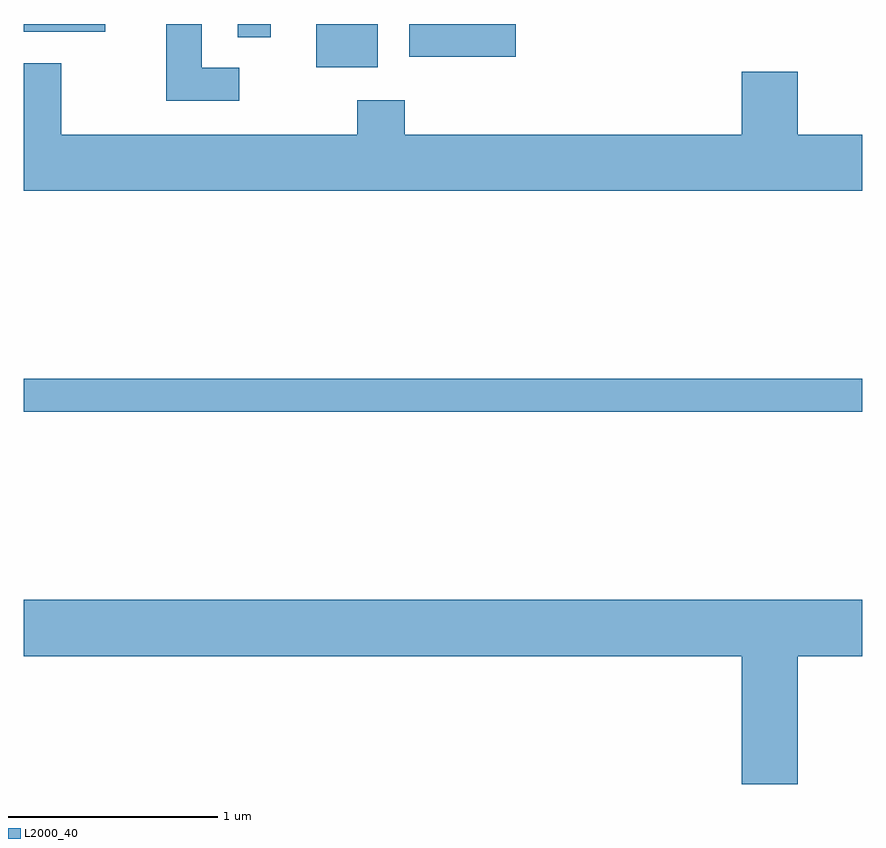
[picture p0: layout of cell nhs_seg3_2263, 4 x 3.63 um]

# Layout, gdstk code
import gdstk
lib = gdstk.Library(unit=1e-6, precision=1e-09)
def R(c, l, rs):  # rectangles x0, y0, x1, y1
    for r in rs: c.add(gdstk.rectangle(r[:2], r[2:], *l))
def P(c, l, *ps):  # polygons
    for p in ps: c.add(gdstk.Polygon(p, *l))
L2000_40 = (2000, 40)

nhs_seg3_2263 = lib.new_cell('nhs_seg3_2263')
R(nhs_seg3_2263, L2000_40, [(251.611,1156.041,255.611,1156.199), (253.006,1157.686,253.299,1157.892), (253.451,1157.736,253.958,1157.892), (252.631,1157.828,252.789,1157.892), (251.611,1157.856,251.999,1157.892)])
P(nhs_seg3_2263, L2000_40, [(252.638,1157.684),(252.459,1157.684),(252.459,1157.892),(252.291,1157.892),(252.291,1157.526),(252.638,1157.526)],
  [(255.611,1157.364),(255.304,1157.364),(255.304,1157.664),(255.036,1157.664),(255.036,1157.364),(253.429,1157.364),(253.429,1157.529),(253.201,1157.529),(253.201,1157.364),(251.789,1157.364),(251.789,1157.704),(251.611,1157.704),(251.611,1157.096),(255.611,1157.096)],
  [(255.304,1154.876),(255.611,1154.876),(255.611,1155.144),(251.611,1155.144),(251.611,1154.876),(255.036,1154.876),(255.036,1154.266),(255.304,1154.266)])

lib.write_gds('nhs_seg3_2263.gds')
